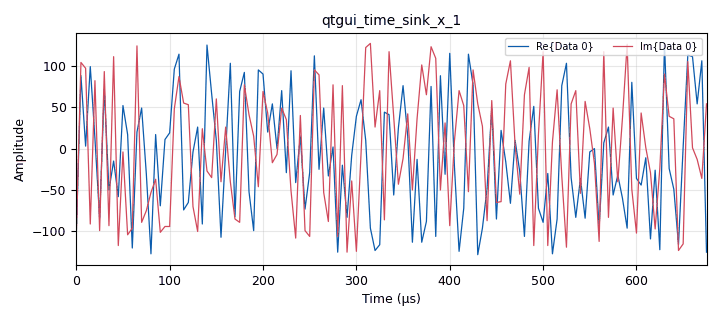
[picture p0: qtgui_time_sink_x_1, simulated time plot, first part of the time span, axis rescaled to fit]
options:
  parameters:
    author: root
    generate_options: qt_gui
    id: random_noise
    output_language: python
    title: Not titled yet
  states: {}

blocks:
- name: carrier_freq
  id: variable_qtgui_range
  parameters:
    start: 2400e6
    step: 5e6
    stop: 3800e6
    value: 2500e6
  states: {}
- name: gain
  id: variable_qtgui_range
  parameters:
    start: '0.0'
    step: '0.05'
    stop: '1.0'
    value: '.5'
  states: {}
- name: gain_db
  id: variable_qtgui_range
  parameters:
    rangeType: int
    start: '0'
    step: '10'
    stop: '70'
    value: '50'
  states: {}
- name: samp_rate
  id: variable
  parameters:
    value: 200e3
  states: {}
- name: sps
  id: variable
  parameters:
    value: '8'
  states: {}
- name: analog_random_source_x_0
  id: analog_random_source_x
  parameters:
    max: '255'
    min: '0'
    num_samps: '1000'
    repeat: 'True'
    type: byte
  states: {}
- name: blocks_interleaved_char_to_complex_0
  id: blocks_interleaved_char_to_complex
  parameters:
    scale_factor: '1.0'
    vector_input: 'False'
  states: {}
- name: qtgui_time_sink_x_1
  id: qtgui_time_sink_x
  parameters:
    size: '10240'
    srate: samp_rate
    type: complex
  states: {}
- name: uhd_usrp_sink_0
  id: uhd_usrp_sink
  parameters:
    ant0: '"TX/RX"'
    center_freq0: carrier_freq
    gain0: gain_db
    samp_rate: samp_rate
    sync: sync
    type: fc32
  states: {}

connections:
- [analog_random_source_x_0, '0', blocks_interleaved_char_to_complex_0, '0']
- [blocks_interleaved_char_to_complex_0, '0', qtgui_time_sink_x_1, '0']
- [blocks_interleaved_char_to_complex_0, '0', uhd_usrp_sink_0, '0']

metadata:
  file_format: 1
  grc_version: v3.10.9.2-5-gdd01ef52
